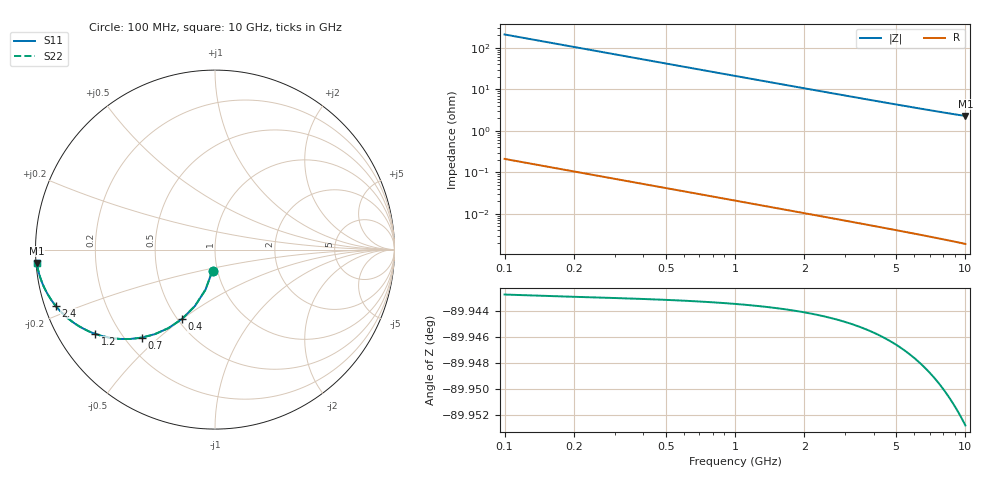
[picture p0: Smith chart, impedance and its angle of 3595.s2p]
# Hz S RI R 50.00
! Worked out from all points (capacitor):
!   100 points, 100 MHz to 10 GHz, reference 50 ohm
!   read as one part in shunt: C = 7.53 pF near 100 MHz
!   lowest |Z| = 2.29 ohm at 10 GHz (marker M1)
!   S11 on the Smith chart (normalised r, x): 100 MHz: 0.95, -0.22; 400 MHz: 0.53, -0.50; 700 MHz: 0.27, -0.44; 1.2 GHz: 0.11, -0.31; 2.4 GHz: 0.03, -0.17; 10 GHz: 0.00, -0.04
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1e8  -0.0139 -0.1166  0.9861 -0.1167  0.9861 -0.1167  -0.0139 -0.1166
2e8  -0.0532 -0.2238  0.9468 -0.2241  0.9468 -0.2241  -0.0532 -0.2238
3e8  -0.1121 -0.3147  0.8879 -0.3152  0.8879 -0.3152  -0.1121 -0.3147
4e8  -0.1831 -0.3859  0.8169 -0.3865  0.8169 -0.3865  -0.1831 -0.3859
5e8  -0.2591 -0.4373  0.7408 -0.4381  0.7408 -0.4381  -0.2591 -0.4373
6e8  -0.3348 -0.471  0.6652 -0.4719  0.6652 -0.4719  -0.3348 -0.471
7e8  -0.4063 -0.4901  0.5937 -0.4912  0.5937 -0.4912  -0.4063 -0.4901
9e8  -0.5304 -0.4979  0.4696 -0.4993  0.4696 -0.4993  -0.5304 -0.4979
1e9  -0.5822 -0.4919  0.4178 -0.4935  0.4178 -0.4935  -0.5822 -0.4919
1.2e9  -0.6671 -0.4698  0.3329 -0.4717  0.3329 -0.4717  -0.6671 -0.4698
1.3e9  -0.7015 -0.4561  0.2985 -0.4581  0.2985 -0.4581  -0.7015 -0.4561
1.5e9  -0.7575 -0.4269  0.2424 -0.4292  0.2424 -0.4292  -0.7575 -0.4269
1.8e9  -0.8179 -0.3841  0.1821 -0.3868  0.1821 -0.3868  -0.8179 -0.3841
2.1e9  -0.8592 -0.3457  0.1408 -0.349  0.1408 -0.349  -0.8592 -0.3457
2.4e9  -0.8883 -0.3125  0.1116 -0.3163  0.1116 -0.3163  -0.8883 -0.3125
2.9e9  -0.9206 -0.2676  0.0794 -0.2721  0.0794 -0.2721  -0.9206 -0.2676
3.4e9  -0.9409 -0.2326  0.0591 -0.238  0.0591 -0.238  -0.9409 -0.2326
4.2e9  -0.9604 -0.1911  0.0396 -0.1978  0.0396 -0.1978  -0.9604 -0.1911
5.1e9  -0.9728 -0.158  0.0271 -0.1661  0.0271 -0.1661  -0.9728 -0.158
6.7e9  -0.9841 -0.1189  0.0158 -0.1297  0.0158 -0.1297  -0.9841 -0.1189
8.4e9  -0.9899 -0.0922  0.00997 -0.106  0.00997 -0.106  -0.9899 -0.0922
1e10  -0.9929 -0.0745  0.00691 -0.0911  0.00691 -0.0911  -0.9929 -0.0745
